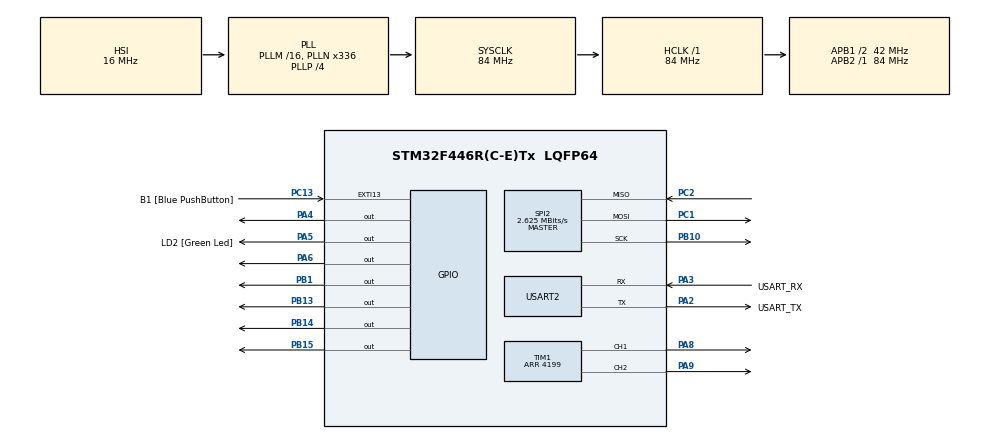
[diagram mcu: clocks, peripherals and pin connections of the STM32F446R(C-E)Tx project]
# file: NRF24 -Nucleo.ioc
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Mcu.Family=STM32F4
Mcu.Name=STM32F446R(C-E)Tx
Mcu.Package=LQFP64
NVIC.PriorityGroup=NVIC_PRIORITYGROUP_0
PA13.GPIO_Label=TMS
PA13.Mode=Serial_Wire
PA13.Signal=SYS_JTMS-SWDIO
PA14.GPIO_Label=TCK
PA14.Mode=Serial_Wire
PA14.Signal=SYS_JTCK-SWCLK
PA2.GPIO_Label=USART_TX
PA2.Mode=Asynchronous
PA2.Signal=USART2_TX
PA3.GPIO_Label=USART_RX
PA3.Mode=Asynchronous
PA3.Signal=USART2_RX
PA4.Signal=GPIO_Output
PA5.GPIO_Label=LD2 [Green Led]
PA5.Signal=GPIO_Output
PA6.Signal=GPIO_Output
PA8.Signal=S_TIM1_CH1
PA9.Signal=S_TIM1_CH2
PB1.Signal=GPIO_Output
PB10.Mode=Full_Duplex_Master
PB10.Signal=SPI2_SCK
PB13.Signal=GPIO_Output
PB14.Signal=GPIO_Output
PB15.Signal=GPIO_Output
PB3.GPIO_Label=SWO
PB3.Signal=SYS_JTDO-SWO
PC1.Mode=Full_Duplex_Master
PC1.Signal=SPI2_MOSI
PC13.GPIO_Label=B1 [Blue PushButton]
PC13.GPIO_ModeDefaultEXTI=GPIO_MODE_IT_FALLING
PC13.Signal=GPXTI13
PC14-OSC32_IN.Signal=RCC_OSC32_IN
PC15-OSC32_OUT.Signal=RCC_OSC32_OUT
PC2.Mode=Full_Duplex_Master
PC2.Signal=SPI2_MISO
PH0-OSC_IN.Signal=RCC_OSC_IN
PH1-OSC_OUT.Signal=RCC_OSC_OUT
ProjectManager.HeapSize=0x200
ProjectManager.StackSize=0x400
ProjectManager.TargetToolchain=MDK-ARM V5.32
RCC.48MHZClocksFreq_Value=84000000
RCC.AHBFreq_Value=84000000
RCC.APB1CLKDivider=RCC_HCLK_DIV2
RCC.APB1Freq_Value=42000000
RCC.APB1TimFreq_Value=84000000
RCC.APB2Freq_Value=84000000
RCC.APB2TimFreq_Value=84000000
RCC.CortexFreq_Value=84000000
RCC.FLatency-AdvancedSettings=FLASH_LATENCY_2
RCC.HCLKFreq_Value=84000000
RCC.HSE_VALUE=8000000
RCC.HSI_VALUE=16000000
RCC.PLLN=336
RCC.PLLP=RCC_PLLP_DIV4
RCC.SYSCLKFreq_VALUE=84000000
RCC.SYSCLKSource=RCC_SYSCLKSOURCE_PLLCLK
RCC.USBFreq_Value=168000000
RCC.VCOOutputFreq_Value=336000000
SH.S_TIM1_CH1.0=TIM1_CH1,PWM Generation1 CH1
SH.S_TIM1_CH2.0=TIM1_CH2,PWM Generation2 CH2
SPI2.BaudRatePrescaler=SPI_BAUDRATEPRESCALER_16
SPI2.CalculateBaudRate=2.625 MBits/s
SPI2.Direction=SPI_DIRECTION_2LINES
SPI2.Mode=SPI_MODE_MASTER
SPI2.VirtualType=VM_MASTER
TIM1.AutoReloadPreload=TIM_AUTORELOAD_PRELOAD_ENABLE
TIM1.Channel-PWM\ Generation1\ CH1=TIM_CHANNEL_1
TIM1.Channel-PWM\ Generation2\ CH2=TIM_CHANNEL_2
TIM1.Period=4199
USART2.VirtualMode=VM_ASYNC
board=NUCLEO-F446RE

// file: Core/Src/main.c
/* USER CODE BEGIN Header */
/**
  ******************************************************************************
  * @file           : main.c
  * @brief          : Main program body
  ******************************************************************************
  * @attention
  *
  * Copyright (c) 2026 STMicroelectronics.
  * All rights reserved.
  *
  * This software is licensed under terms that can be found in the LICENSE file
  * in the root directory of this software component.
  * If no LICENSE file comes with this software, it is provided AS-IS.
  *
  ******************************************************************************
  */
/* USER CODE END Header */
#include "main.h"

/* USER CODE BEGIN Includes */
#include <string.h>
#include "NRF.h"
/* USER CODE END Includes */

/* USER CODE BEGIN PM */
#define X_MIN 2040
#define X_MAX 4040
#define X_MIN_N 0
#define X_MAX_N 1980
#define Y_MIN 1930
#define Y_MAX 4040
#define Y_MIN_N 0
#define Y_MAX_N 1880
#define PWM_MIN 2800
#define PWM_MAX 4200
/* USER CODE END PM */

SPI_HandleTypeDef hspi2;

TIM_HandleTypeDef htim1;

UART_HandleTypeDef huart2;

/* USER CODE BEGIN PV */
int a = 0;
int TX_EMPTY = 5;
int DataInFifo = 5;
uint8_t turn = 0;
int8_t omega = 0;

uint8_t RxAddress[5] = {0xEE,0xDD,0xCC,0xBB,0xAA};
uint8_t RxData[4];
uint8_t st = 0;

uint16_t point[2] = {1,1};

uint8_t rf;
uint8_t cfg;

uint32_t pwm = 0;

int32_t left_pwm  = 0;
int32_t right_pwm = 0;
/* USER CODE END PV */

void SystemClock_Config(void);
static void MX_GPIO_Init(void);
static void MX_SPI2_Init(void);
static void MX_USART2_UART_Init(void);
static void MX_TIM1_Init(void);
/* USER CODE BEGIN PFP */
uint32_t map_u16_to_u32(uint16_t v, uint16_t in_min, uint16_t in_max, uint32_t out_min, uint32_t out_max);

void drive_arcade(uint16_t x, uint16_t y);
void drive_simple(uint16_t x, uint16_t y);

int in_range_u16(uint16_t v, uint16_t lo, uint16_t hi);

// Motor direction + stop (YOUR wiring on GPIOB)
void motor_left_forward(void);
void motor_left_backward(void);
void motor_left_stop(void);

void motor_right_forward(void);
void motor_right_backward(void);
void motor_right_stop(void);

/* USER CODE END PFP */

int main(void)
{

  /* MCU Configuration--------------------------------------------------------*/

  /* Reset of all peripherals, Initializes the Flash interface and the Systick. */
  HAL_Init();

  /* Configure the system clock */
  SystemClock_Config();

  /* Initialize all configured peripherals */
  MX_GPIO_Init();
  MX_SPI2_Init();
  MX_USART2_UART_Init();
  MX_TIM1_Init();
  /* USER CODE BEGIN 2 */
	NRF24_Init();
	NRF24_RxMode(RxAddress, 76);

	HAL_TIM_PWM_Start(&htim1, TIM_CHANNEL_1);
	HAL_TIM_PWM_Start(&htim1, TIM_CHANNEL_2);

//	st = nrf24_ReadReg(STATUS);
//	if (st == 0x00 || st == 0xFF) {
//			// SPI/power/wiring problem
//			while (1) {
//					HAL_GPIO_TogglePin(GPIOA, GPIO_PIN_5);
//					HAL_Delay(100);   // fast blink = SPI dead
//			}
//	} else {
//			while (1) {
//					HAL_GPIO_TogglePin(GPIOA, GPIO_PIN_5);
//					HAL_Delay(1000);   // slow blink = SPI OK
//			}
//	}
	rf = nrf24_ReadReg(RF_SETUP);
	cfg = nrf24_ReadReg(CONFIG);

	HAL_GPIO_WritePin(GPIOB, GPIO_PIN_1, GPIO_PIN_SET);
  HAL_GPIO_WritePin(GPIOB, GPIO_PIN_15, GPIO_PIN_RESET);
	htim1.Instance->CCR2 = 2200;

	HAL_GPIO_WritePin(GPIOB, GPIO_PIN_14, GPIO_PIN_SET);
  HAL_GPIO_WritePin(GPIOB, GPIO_PIN_13, GPIO_PIN_RESET);
	htim1.Instance->CCR1 = 2200;
  /* USER CODE END 2 */

  /* Infinite loop */
  while (1)
  {

    /* USER CODE BEGIN 3 */
		uint8_t got_packet = 0;

		while ((nrf24_ReadReg(FIFO_STATUS) & (1<<0)) == 0)   // while RX not empty
		{
				NRF24_Receive(RxData);
				got_packet = 1;
		}

		if (got_packet)
		{
				point[0] = (uint16_t)((RxData[1] << 8) | RxData[0]);
				point[1] = (uint16_t)((RxData[3] << 8) | RxData[2]);
		}

		drive_arcade(point[0], point[1]);

		HAL_Delay(10);
  }
  /* USER CODE END 3 */
}

void SystemClock_Config(void)
{
  RCC_OscInitTypeDef RCC_OscInitStruct = {0};
  RCC_ClkInitTypeDef RCC_ClkInitStruct = {0};

  /** Configure the main internal regulator output voltage
  */
  __HAL_RCC_PWR_CLK_ENABLE();
  __HAL_PWR_VOLTAGESCALING_CONFIG(PWR_REGULATOR_VOLTAGE_SCALE3);

  /** Initializes the RCC Oscillators according to the specified parameters
  * in the RCC_OscInitTypeDef structure.
  */
  RCC_OscInitStruct.OscillatorType = RCC_OSCILLATORTYPE_HSI;
  RCC_OscInitStruct.HSIState = RCC_HSI_ON;
  RCC_OscInitStruct.HSICalibrationValue = RCC_HSICALIBRATION_DEFAULT;
  RCC_OscInitStruct.PLL.PLLState = RCC_PLL_ON;
  RCC_OscInitStruct.PLL.PLLSource = RCC_PLLSOURCE_HSI;
  RCC_OscInitStruct.PLL.PLLM = 16;
  RCC_OscInitStruct.PLL.PLLN = 336;
  RCC_OscInitStruct.PLL.PLLP = RCC_PLLP_DIV4;
  RCC_OscInitStruct.PLL.PLLQ = 2;
  RCC_OscInitStruct.PLL.PLLR = 2;
  if (HAL_RCC_OscConfig(&RCC_OscInitStruct) != HAL_OK)
  {
    Error_Handler();
  }

  /** Initializes the CPU, AHB and APB buses clocks
  */
  RCC_ClkInitStruct.ClockType = RCC_CLOCKTYPE_HCLK|RCC_CLOCKTYPE_SYSCLK
                              |RCC_CLOCKTYPE_PCLK1|RCC_CLOCKTYPE_PCLK2;
  RCC_ClkInitStruct.SYSCLKSource = RCC_SYSCLKSOURCE_PLLCLK;
  RCC_ClkInitStruct.AHBCLKDivider = RCC_SYSCLK_DIV1;
  RCC_ClkInitStruct.APB1CLKDivider = RCC_HCLK_DIV2;
  RCC_ClkInitStruct.APB2CLKDivider = RCC_HCLK_DIV1;

  if (HAL_RCC_ClockConfig(&RCC_ClkInitStruct, FLASH_LATENCY_2) != HAL_OK)
  {
    Error_Handler();
  }
}

static void MX_SPI2_Init(void)
{

  /* SPI2 parameter configuration*/
  hspi2.Instance = SPI2;
  hspi2.Init.Mode = SPI_MODE_MASTER;
  hspi2.Init.Direction = SPI_DIRECTION_2LINES;
  hspi2.Init.DataSize = SPI_DATASIZE_8BIT;
  hspi2.Init.CLKPolarity = SPI_POLARITY_LOW;
  hspi2.Init.CLKPhase = SPI_PHASE_1EDGE;
  hspi2.Init.NSS = SPI_NSS_SOFT;
  hspi2.Init.BaudRatePrescaler = SPI_BAUDRATEPRESCALER_16;
  hspi2.Init.FirstBit = SPI_FIRSTBIT_MSB;
  hspi2.Init.TIMode = SPI_TIMODE_DISABLE;
  hspi2.Init.CRCCalculation = SPI_CRCCALCULATION_DISABLE;
  hspi2.Init.CRCPolynomial = 10;
  if (HAL_SPI_Init(&hspi2) != HAL_OK)
  {
    Error_Handler();
  }

}

static void MX_TIM1_Init(void)
{

  TIM_MasterConfigTypeDef sMasterConfig = {0};
  TIM_OC_InitTypeDef sConfigOC = {0};
  TIM_BreakDeadTimeConfigTypeDef sBreakDeadTimeConfig = {0};

  htim1.Instance = TIM1;
  htim1.Init.Prescaler = 0;
  htim1.Init.CounterMode = TIM_COUNTERMODE_UP;
  htim1.Init.Period = 4199;
  htim1.Init.ClockDivision = TIM_CLOCKDIVISION_DIV1;
  htim1.Init.RepetitionCounter = 0;
  htim1.Init.AutoReloadPreload = TIM_AUTORELOAD_PRELOAD_ENABLE;
  if (HAL_TIM_PWM_Init(&htim1) != HAL_OK)
  {
    Error_Handler();
  }
  sMasterConfig.MasterOutputTrigger = TIM_TRGO_RESET;
  sMasterConfig.MasterSlaveMode = TIM_MASTERSLAVEMODE_DISABLE;
  if (HAL_TIMEx_MasterConfigSynchronization(&htim1, &sMasterConfig) != HAL_OK)
  {
    Error_Handler();
  }
  sConfigOC.OCMode = TIM_OCMODE_PWM1;
  sConfigOC.Pulse = 0;
  sConfigOC.OCPolarity = TIM_OCPOLARITY_HIGH;
  sConfigOC.OCNPolarity = TIM_OCNPOLARITY_HIGH;
  sConfigOC.OCFastMode = TIM_OCFAST_DISABLE;
  sConfigOC.OCIdleState = TIM_OCIDLESTATE_RESET;
  sConfigOC.OCNIdleState = TIM_OCNIDLESTATE_RESET;
  if (HAL_TIM_PWM_ConfigChannel(&htim1, &sConfigOC, TIM_CHANNEL_1) != HAL_OK)
  {
    Error_Handler();
  }
  if (HAL_TIM_PWM_ConfigChannel(&htim1, &sConfigOC, TIM_CHANNEL_2) != HAL_OK)
  {
    Error_Handler();
  }
  sBreakDeadTimeConfig.OffStateRunMode = TIM_OSSR_DISABLE;
  sBreakDeadTimeConfig.OffStateIDLEMode = TIM_OSSI_DISABLE;
  sBreakDeadTimeConfig.LockLevel = TIM_LOCKLEVEL_OFF;
  sBreakDeadTimeConfig.DeadTime = 0;
  sBreakDeadTimeConfig.BreakState = TIM_BREAK_DISABLE;
  sBreakDeadTimeConfig.BreakPolarity = TIM_BREAKPOLARITY_HIGH;
  sBreakDeadTimeConfig.AutomaticOutput = TIM_AUTOMATICOUTPUT_DISABLE;
  if (HAL_TIMEx_ConfigBreakDeadTime(&htim1, &sBreakDeadTimeConfig) != HAL_OK)
  {
    Error_Handler();
  }
  HAL_TIM_MspPostInit(&htim1);

}

static void MX_USART2_UART_Init(void)
{

  huart2.Instance = USART2;
  huart2.Init.BaudRate = 115200;
  huart2.Init.WordLength = UART_WORDLENGTH_8B;
  huart2.Init.StopBits = UART_STOPBITS_1;
  huart2.Init.Parity = UART_PARITY_NONE;
  huart2.Init.Mode = UART_MODE_TX_RX;
  huart2.Init.HwFlowCtl = UART_HWCONTROL_NONE;
  huart2.Init.OverSampling = UART_OVERSAMPLING_16;
  if (HAL_UART_Init(&huart2) != HAL_OK)
  {
    Error_Handler();
  }

}

static void MX_GPIO_Init(void)
{
  GPIO_InitTypeDef GPIO_InitStruct = {0};

  /* GPIO Ports Clock Enable */
  __HAL_RCC_GPIOC_CLK_ENABLE();
  __HAL_RCC_GPIOH_CLK_ENABLE();
  __HAL_RCC_GPIOA_CLK_ENABLE();
  __HAL_RCC_GPIOB_CLK_ENABLE();

  /*Configure GPIO pin Output Level */
  HAL_GPIO_WritePin(GPIOA, GPIO_PIN_4|LD2_Pin|GPIO_PIN_6, GPIO_PIN_RESET);

  /*Configure GPIO pin Output Level */
  HAL_GPIO_WritePin(GPIOB, GPIO_PIN_1|GPIO_PIN_13|GPIO_PIN_14|GPIO_PIN_15, GPIO_PIN_RESET);

  /*Configure GPIO pin : B1_Pin */
  GPIO_InitStruct.Pin = B1_Pin;
  GPIO_InitStruct.Mode = GPIO_MODE_IT_FALLING;
  GPIO_InitStruct.Pull = GPIO_NOPULL;
  HAL_GPIO_Init(B1_GPIO_Port, &GPIO_InitStruct);

  /*Configure GPIO pins : PA4 LD2_Pin PA6 */
  GPIO_InitStruct.Pin = GPIO_PIN_4|LD2_Pin|GPIO_PIN_6;
  GPIO_InitStruct.Mode = GPIO_MODE_OUTPUT_PP;
  GPIO_InitStruct.Pull = GPIO_NOPULL;
  GPIO_InitStruct.Speed = GPIO_SPEED_FREQ_LOW;
  HAL_GPIO_Init(GPIOA, &GPIO_InitStruct);

  /*Configure GPIO pins : PB1 PB13 PB14 PB15 */
  GPIO_InitStruct.Pin = GPIO_PIN_1|GPIO_PIN_13|GPIO_PIN_14|GPIO_PIN_15;
  GPIO_InitStruct.Mode = GPIO_MODE_OUTPUT_PP;
  GPIO_InitStruct.Pull = GPIO_NOPULL;
  GPIO_InitStruct.Speed = GPIO_SPEED_FREQ_LOW;
  HAL_GPIO_Init(GPIOB, &GPIO_InitStruct);

}

/* USER CODE BEGIN 4 */
// Map v from [in_min..in_max] to [out_min..out_max], clamped
uint32_t map_u16_to_u32(uint16_t v,
                        uint16_t in_min, uint16_t in_max,
                        uint32_t out_min, uint32_t out_max)
{
    if (v <= in_min) return out_min;
    if (v >= in_max) return out_max;
    return out_min + ((uint32_t)(v - in_min) * (out_max - out_min)) / (uint32_t)(in_max - in_min);
}

int in_range_u16(uint16_t v, uint16_t lo, uint16_t hi)
{
    return (v >= lo && v <= hi);
}

// ===== LEFT MOTOR (TIM1 CH1 = CCR1), direction pins: PB1, PB15 =====
void motor_left_forward(void)
{
    HAL_GPIO_WritePin(GPIOB, GPIO_PIN_1,  GPIO_PIN_SET);
    HAL_GPIO_WritePin(GPIOB, GPIO_PIN_15, GPIO_PIN_RESET);
}

void motor_left_backward(void)
{
    HAL_GPIO_WritePin(GPIOB, GPIO_PIN_1,  GPIO_PIN_RESET);
    HAL_GPIO_WritePin(GPIOB, GPIO_PIN_15, GPIO_PIN_SET);
}

void motor_left_stop(void)
{
    HAL_GPIO_WritePin(GPIOB, GPIO_PIN_1,  GPIO_PIN_RESET);
    HAL_GPIO_WritePin(GPIOB, GPIO_PIN_15, GPIO_PIN_RESET);
    htim1.Instance->CCR2 = 0;
}

// ===== RIGHT MOTOR (TIM1 CH2 = CCR2), direction pins: PB14, PB13 =====
void motor_right_forward(void)
{
    HAL_GPIO_WritePin(GPIOB, GPIO_PIN_14, GPIO_PIN_SET);
    HAL_GPIO_WritePin(GPIOB, GPIO_PIN_13, GPIO_PIN_RESET);
}

void motor_right_backward(void)
{
    HAL_GPIO_WritePin(GPIOB, GPIO_PIN_14, GPIO_PIN_RESET);
    HAL_GPIO_WritePin(GPIOB, GPIO_PIN_13, GPIO_PIN_SET);
}

void motor_right_stop(void)
{
    HAL_GPIO_WritePin(GPIOB, GPIO_PIN_14, GPIO_PIN_RESET);
    HAL_GPIO_WritePin(GPIOB, GPIO_PIN_13, GPIO_PIN_RESET);
    htim1.Instance->CCR1 = 0;
}

// ===== Joystick logic using the motor_* functions =====
void drive_simple(uint16_t x, uint16_t y)
{
    // Stop
    if (in_range_u16(x, X_MAX_N, X_MIN) && in_range_u16(y, Y_MAX_N, Y_MIN))
    {
        motor_left_stop();
        motor_right_stop();
        return;
    }

    // Forward
    if (x > X_MIN)
    {
        uint32_t pwm = map_u16_to_u32(x, X_MIN, X_MAX, PWM_MIN, PWM_MAX);

        motor_left_forward();
        motor_right_forward();
        htim1.Instance->CCR2 = pwm;
        htim1.Instance->CCR1 = pwm;
        return;
    }

    // Backward
    if (x < X_MAX_N)
    {
        uint16_t amount = (uint16_t)(X_MAX_N - x); // 0..2000
        uint32_t pwm = map_u16_to_u32(amount, X_MIN_N, X_MAX_N, PWM_MIN, PWM_MAX);

        motor_left_backward();
        motor_right_backward();
        htim1.Instance->CCR2 = pwm;
        htim1.Instance->CCR1 = pwm;
        return;
    }

    // Turn-in-place only when x is in stop band

    // If y < 1900: RIGHT motor stopped, LEFT motor PWM depends on (1900 - y)
    if (in_range_u16(x, 2000, 2020) && y < Y_MAX_N)
    {
				turn++;
        uint16_t amount = (uint16_t)(Y_MAX_N - y); // 0..1900

				uint32_t pwm = (amount == 0) ? 0 : map_u16_to_u32(amount, Y_MIN_N, Y_MAX_N, PWM_MIN, PWM_MAX);

        motor_left_forward();
        motor_right_stop();
				htim1.Instance->CCR2 = pwm;
        // CCR2 already set to 0 by motor_right_stop()
        return;
    }

    // If y > 1915: LEFT motor stopped, RIGHT motor PWM depends on (y - 1915)
    if (in_range_u16(x, 2000, 2020) && y > Y_MIN)
    {
//        uint16_t amount = (uint16_t)(y - Y_MIN); // 0..(4040-1930)
        uint32_t pwm = map_u16_to_u32(y, Y_MIN, Y_MAX, PWM_MIN, PWM_MAX);

        motor_left_stop();
        motor_right_forward();
        htim1.Instance->CCR1 = pwm;
        // CCR1 already set to 0 by motor_left_stop()
        return;
    }

    // Fallback stop
    motor_left_stop();
    motor_right_stop();
}

void drive_arcade(uint16_t x, uint16_t y)
{
		int forward = 0;
    uint32_t base = 0;

    // Stop deadband
    if (in_range_u16(x, X_MAX_N, X_MIN) && in_range_u16(y, Y_MAX_N, Y_MIN)){
        motor_left_stop();
        motor_right_stop();
        return;
    }

    // ---------- 1) BASE SPEED from X ----------

    if (x > X_MIN) {
        forward = 1;
        base = map_u16_to_u32(x, X_MIN, X_MAX, PWM_MIN, PWM_MAX);
    } else if (x < X_MAX_N) {
        forward = 0;
        uint16_t amt = (uint16_t)(X_MAX_N - x); // 0...X_MAX_N
        base = map_u16_to_u32(amt, X_MIN_N, X_MAX_N, PWM_MIN, PWM_MAX);
    } else {
        // x in stop band => base 0 (not moving forward/back)
        base = 0;
    }

    // ---------- 2) TURN DELTA (omega) from Y ----------
    int32_t omega = 0;

    // y < 1900 => turn RIGHT (omega positive)
    if (y < Y_MAX_N) {
        uint16_t amt = (uint16_t)(Y_MAX_N - y);                 // 0..Y_MAX_N
        omega = (int32_t)map_u16_to_u32(amt, Y_MIN_N, Y_MAX_N, 0, 1400);
    }
    // y > 1915 => turn LEFT (omega negative)
    else if (y > Y_MIN) {
				omega = -(int32_t)map_u16_to_u32(y, Y_MIN, Y_MAX, 0, 1400);
    }
		omega = (omega * 700) / 1000;
    // ---------- 3) MIX ----------
    left_pwm  = (int32_t)base + omega;
    right_pwm = (int32_t)base - omega;

    // Clamp to [0..4200]
    if (left_pwm < 0) left_pwm = 0;
    if (right_pwm < 0) right_pwm = 0;
    if (left_pwm > PWM_MAX) left_pwm = PWM_MAX;
    if (right_pwm > PWM_MAX) right_pwm = PWM_MAX;

    // ---------- 4) APPLY DIRECTION + PWM ----------

    if (base == 0 && omega != 0)
    {
				// Minimum spin rule: if nonzero but below 2500 -> bump to 2500
				if (left_pwm > 0 && left_pwm < PWM_MIN) left_pwm = PWM_MIN + omega;
				if (right_pwm > 0 && right_pwm < PWM_MIN) right_pwm = PWM_MIN - omega;

        if (omega > 0)
        {
            motor_left_forward();
            motor_right_backward();
        }
        else
        {
            motor_left_backward();
            motor_right_forward();
        }

        htim1.Instance->CCR2 = (uint32_t)left_pwm;   // left
        htim1.Instance->CCR1 = (uint32_t)right_pwm;  // right
        return;
    }

    if (base == 0 && omega == 0)
    {
        motor_left_stop();
        motor_right_stop();
        return;
    }

    if (forward)
    {
        motor_left_forward();
        motor_right_forward();
    }
    else
    {
        motor_left_backward();
        motor_right_backward();
    }

    // CCR2 = LEFT, CCR1 = RIGHT (your corrected wiring)
    htim1.Instance->CCR2 = (uint32_t)left_pwm;
    htim1.Instance->CCR1 = (uint32_t)right_pwm;
}

/* USER CODE END 4 */

void Error_Handler(void)
{
  __disable_irq();
  while (1)
  {
  }
}
